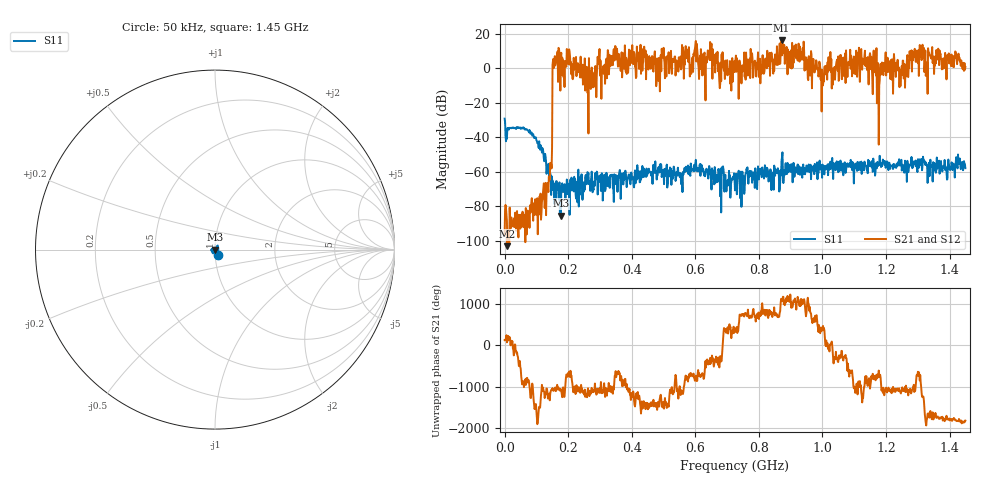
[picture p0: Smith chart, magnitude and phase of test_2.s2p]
! Created with skrf 1.11.0 (http://scikit-rf.org).
# Hz S RI R 50.0
!freq ReS11 ImS11 ReS21 ImS21 ReS12 ImS12 ReS22 ImS22
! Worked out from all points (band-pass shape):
!   1001 points, 50 kHz to 1.45 GHz, reference 50 ohm
!   highest |S21| = 16.24 dB at 871.5 MHz (marker M1); lowest = -103.0 dB at 8.75 MHz (marker M2)
!   |S21| within 3 dB of the highest: 378.4667 MHz to 378.5177 MHz (50.99 kHz wide, 0.0135 % of centre); 600.2281 MHz to 602.1079 MHz (1.88 MHz wide, 0.313 % of centre) (the widest 2 of 18)
!   lowest |S11| = -85.3 dB at 176.9 MHz (marker M3), VSWR 1.00, Z = 50 + j0.0054 ohm
!   |S11| at or under -10 dB: start of sweep to end of sweep
!   |S22| runs from - to - dB; largest |S21 - S12| = 0
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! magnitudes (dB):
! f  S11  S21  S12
! 50 kHz  -29.1  -96.8  -96.8
! 8.75 MHz  -34.5  -103.0  -103.0
! 78.35 MHz  -35.6  -92.4  -92.4
! 132 MHz  -61.1  -71.7  -71.7
! 142.1 MHz  -60.7  -64.0  -64.0
! 158.1 MHz  -66.7  7.1  7.1
! 176.9 MHz  -85.3  6.7  6.7
! 242.2 MHz  -61.3  -1.9  -1.9
! 268.3 MHz  -67.0  -1.4  -1.4
! 348 MHz  -61.9  13.0  13.0
! 484.3 MHz  -57.2  -7.2  -7.2
! 601.8 MHz  -53.0  15.9  15.9
! 725 MHz  -70.6  3.1  3.1
! 871.5 MHz  -53.3  16.2  16.2
! 967.2 MHz  -56.8  -11.5  -11.5
! 1.001 GHz  -55.7  -10.0  -10.0
! 1.127 GHz  -56.1  5.7  5.7
! 1.179 GHz  -55.7  -9.9  -9.9
! 1.209 GHz  -55.1  2.3  2.3
! 1.263 GHz  -57.6  0.8  0.8
! 1.312 GHz  -55.7  4.8  4.8
! 1.45 GHz  -57.8  0.9  0.9
